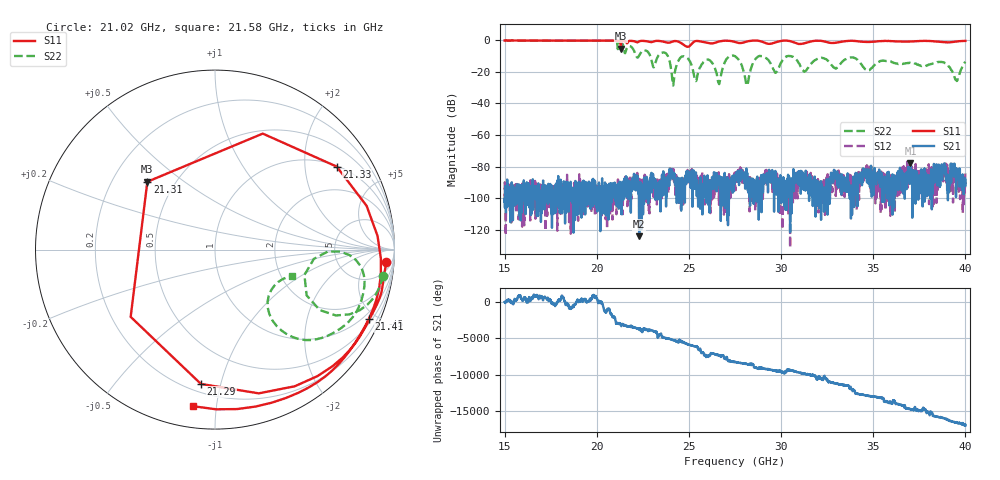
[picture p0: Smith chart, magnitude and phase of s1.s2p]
#  HZ  S  RI  R  50.00
! Rohde & Schwarz Vector Network Analyzer
! Rohde-Schwarz,ZNA43-4Port,1332450044101932,2.92
! Created: UTC 4/16/2025, 7:26:58 AM
! freq[Hz]  re:S11  im:S11  re:S21  im:S21  re:S12  im:S12  re:S22  im:S22
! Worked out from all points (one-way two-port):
!   2501 points, 15 GHz to 40 GHz, reference 50 ohm
!   highest |S21| = -77.91 dB at 37.02 GHz (marker M1); lowest = -123.9 dB at 22.3 GHz (marker M2)
!   lowest |S11| = -5.5 dB at 21.31 GHz (marker M3), VSWR 3.29, Z = 17.5 + j18.5 ohm
!   |S11| at or under -10 dB: nowhere
!   |S22| runs from -28.7 to -0.2 dB; largest |S21 - S12| = 0.00015
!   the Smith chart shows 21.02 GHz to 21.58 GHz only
!   S11 on the Smith chart (normalised r, x): 21.02 GHz: 12, -20; 21.29 GHz: 0.25, -0.87; 21.31 GHz: 0.35, +0.37; 21.33 GHz: 1.03, +2.91; 21.41 GHz: 0.69, -4.57; 21.58 GHz: 0.11, -0.86
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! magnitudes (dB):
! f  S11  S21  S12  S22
! 15 GHz  -0.3  -102.2  -102.4  -0.3
! 19.17 GHz  -0.3  -112.2  -96.9  -0.3
! 21.02 GHz  -0.4  -101.8  -94.4  -0.5
! 21.29 GHz  -2.5  -92.4  -94.1  -1.3
! 21.31 GHz  -5.5  -99.7  -103.0  -1.3
! 21.33 GHz  -1.7  -109.7  -99.1  -1.5
! 21.41 GHz  -0.5  -95.5  -110.0  -2.7
! 21.58 GHz  -1.1  -99.0  -94.0  -6.9
! 22.3 GHz  -0.8  -123.9  -89.9  -9.6
! 23.34 GHz  -0.5  -100.0  -96.0  -9.9
! 24.15 GHz  -0.8  -84.4  -83.7  -28.6
! 24.62 GHz  -2.2  -92.0  -99.0  -10.4
! 26.07 GHz  -1.9  -89.2  -96.1  -12.4
! 26.63 GHz  -0.9  -88.5  -104.1  -27.7
! 27.5 GHz  -1.2  -86.0  -90.3  -10.1
! 28.14 GHz  -0.9  -84.9  -85.7  -28.6
! 28.82 GHz  -0.6  -88.9  -97.3  -10.0
! 31.67 GHz  -0.8  -98.0  -84.8  -14.5
! 35.84 GHz  -0.6  -86.6  -94.3  -13.2
! 37.02 GHz  -0.9  -77.9  -83.8  -14.5
! 39.52 GHz  -0.9  -85.2  -84.7  -25.7
! 40 GHz  -0.5  -88.3  -84.3  -13.7
